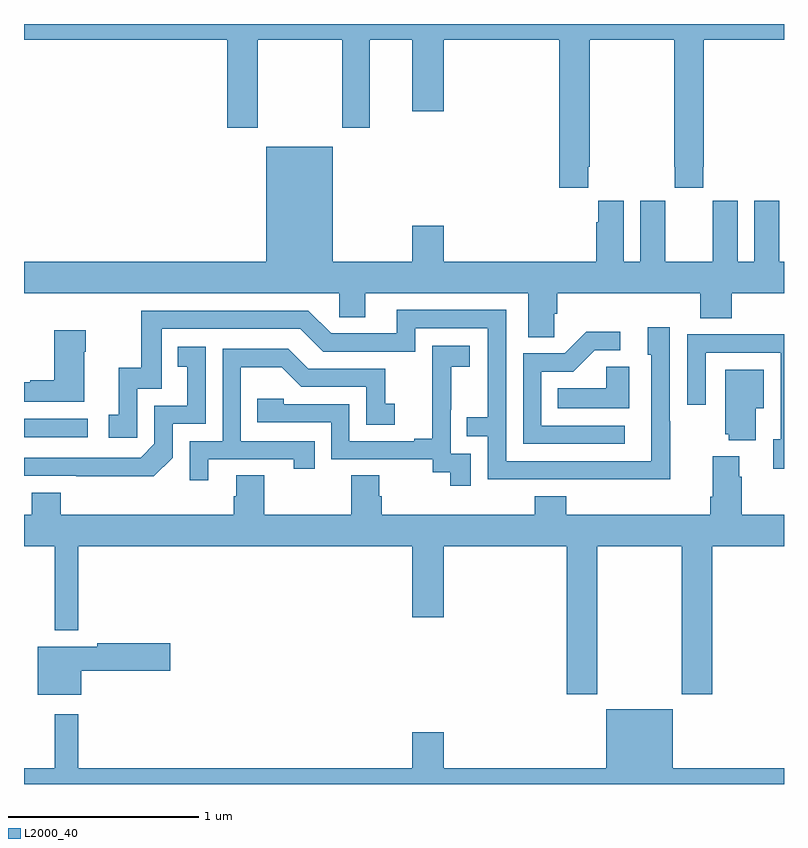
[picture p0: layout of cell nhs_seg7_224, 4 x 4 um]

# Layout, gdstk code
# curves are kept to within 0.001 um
import gdstk
lib = gdstk.Library(unit=1e-6, precision=1e-09)
def R(c, l, rs):  # rectangles x0, y0, x1, y1
    for r in rs: c.add(gdstk.rectangle(r[:2], r[2:], *l))
def P(c, l, *ps):  # polygons
    for p in ps: c.add(gdstk.Polygon(p, *l))
L2000_40 = (2000, 40)

nhs_seg7_224 = lib.new_cell('nhs_seg7_224')
R(nhs_seg7_224, L2000_40, [(127,1031.826,127.336,1031.922)])
P(nhs_seg7_224, L2000_40, [(129.971,1033.249),(129.977,1033.249),(129.977,1033.916),(130.423,1033.916),(130.423,1033.249),(130.425,1033.249),(130.425,1033.137),(130.575,1033.137),(130.575,1033.249),(130.578,1033.249),(130.578,1033.916),(131,1033.916),(131,1034),(127,1034),(127,1033.916),(128.069,1033.916),(128.069,1033.455),(128.229,1033.455),(128.229,1033.916),(128.674,1033.916),(128.674,1033.455),(128.821,1033.455),(128.821,1033.916),(129.044,1033.916),(129.044,1033.542),(129.208,1033.542),(129.208,1033.916),(129.818,1033.916),(129.818,1033.137),(129.971,1033.137)],
  [(129.792,1032.475),(129.806,1032.475),(129.806,1032.584),(130.559,1032.584),(130.559,1032.451),(130.724,1032.451),(130.724,1032.584),(131,1032.584),(131,1032.748),(130.975,1032.748),(130.975,1032.956),(130.974,1032.956),(130.974,1033.069),(130.844,1033.069),(130.844,1032.748),(130.756,1032.748),(130.756,1033.069),(130.626,1033.069),(130.626,1032.956),(130.625,1032.956),(130.625,1032.748),(130.375,1032.748),(130.375,1032.956),(130.374,1032.956),(130.374,1033.069),(130.244,1033.069),(130.244,1032.748),(130.156,1032.748),(130.156,1033.069),(130.022,1033.069),(130.022,1032.956),(130.013,1032.956),(130.013,1032.748),(129.208,1032.748),(129.208,1032.937),(129.044,1032.937),(129.044,1032.748),(128.626,1032.748),(128.626,1033.354),(128.276,1033.354),(128.276,1032.748),(127,1032.748),(127,1032.584),(128.658,1032.584),(128.658,1032.457),(128.797,1032.457),(128.797,1032.584),(129.653,1032.584),(129.653,1032.352),(129.792,1032.352)],
  [(130.401,1031.909),(130.398,1031.909),(130.398,1032.403),(130.283,1032.403),(130.283,1032.258),(130.302,1032.258),(130.302,1031.7),(129.537,1031.7),(129.537,1032.495),(128.963,1032.495),(128.963,1032.372),(128.616,1032.372),(128.496,1032.492),(127.617,1032.492),(127.617,1032.19),(127.499,1032.19),(127.499,1031.943),(127.446,1031.943),(127.446,1031.823),(127.596,1031.823),(127.596,1032.081),(127.725,1032.081),(127.725,1032.396),(128.454,1032.396),(128.574,1032.276),(129.06,1032.276),(129.06,1032.399),(129.441,1032.399),(129.441,1031.93),(129.331,1031.93),(129.331,1031.829),(129.441,1031.829),(129.441,1031.604),(130.401,1031.603)],
  [(127.318,1032.275),(127.326,1032.275),(127.326,1032.388),(127.16,1032.388),(127.16,1032.125),(127.034,1032.125),(127.034,1032.115),(127,1032.115),(127,1032.011),(127.318,1032.011)],
  [(130.162,1031.886),(129.723,1031.886),(129.723,1032.171),(129.892,1032.171),(130.003,1032.282),(130.138,1032.282),(130.138,1032.38),(129.959,1032.38),(129.846,1032.267),(129.627,1032.267),(129.627,1031.79),(130.162,1031.79)],
  [(131,1032.368),(130.807,1032.368),(130.807,1032.366),(130.491,1032.366),(130.491,1031.997),(130.587,1031.997),(130.587,1032.27),(130.983,1032.27),(130.983,1031.814),(130.943,1031.814),(130.943,1031.658),(131,1031.658)],
  [(129.351,1031.739),(129.246,1031.739),(129.246,1031.969),(129.248,1031.969),(129.248,1032.197),(129.346,1032.197),(129.346,1032.307),(129.148,1032.307),(129.148,1032.101),(129.149,1032.101),(129.149,1031.818),(129.053,1031.818),(129.053,1031.805),(128.712,1031.805),(128.712,1032),(128.367,1032),(128.367,1032.027),(128.227,1032.027),(128.227,1031.904),(128.616,1031.904),(128.616,1031.709),(129.15,1031.709),(129.15,1031.641),(129.243,1031.641),(129.243,1031.571),(129.351,1031.571)],
  [(127.782,1031.718),(127.782,1031.895),(127.956,1031.895),(127.956,1032.301),(127.81,1032.301),(127.81,1032.195),(127.859,1032.195),(127.859,1031.991),(127.686,1031.991),(127.686,1031.79),(127.614,1031.718),(127,1031.718),(127,1031.622),(127.684,1031.621)],
  [(127.969,1031.709),(128.42,1031.709),(128.42,1031.658),(128.531,1031.658),(128.531,1031.805),(128.142,1031.805),(128.142,1032.194),(128.356,1032.194),(128.46,1032.09),(128.802,1032.09),(128.802,1031.892),(128.95,1031.892),(128.95,1032.001),(128.901,1032.001),(128.901,1032.186),(128.497,1032.186),(128.392,1032.291),(128.046,1032.291),(128.046,1031.805),(127.872,1031.805),(127.872,1031.598),(127.969,1031.598)],
  [(130.186,1032.197),(130.065,1032.197),(130.065,1032.082),(129.808,1032.082),(129.808,1031.978),(130.186,1031.978)],
  [(130.852,1031.978),(130.894,1031.978),(130.894,1032.181),(130.691,1032.181),(130.691,1031.841),(130.709,1031.841),(130.709,1031.81),(130.852,1031.81)],
  [(130.017,1031.252),(130.462,1031.252),(130.462,1030.473),(130.622,1030.473),(130.622,1031.252),(131,1031.252),(131,1031.416),(130.778,1031.416),(130.778,1031.618),(130.765,1031.618),(130.765,1031.725),(130.625,1031.725),(130.625,1031.512),(130.613,1031.512),(130.613,1031.416),(129.854,1031.416),(129.854,1031.515),(129.689,1031.515),(129.689,1031.416),(128.882,1031.416),(128.882,1031.514),(128.869,1031.514),(128.869,1031.624),(128.722,1031.624),(128.722,1031.416),(128.265,1031.416),(128.265,1031.624),(128.117,1031.624),(128.117,1031.514),(128.105,1031.514),(128.105,1031.416),(127.193,1031.416),(127.193,1031.533),(127.04,1031.533),(127.04,1031.416),(127,1031.416),(127,1031.252),(127.163,1031.252),(127.163,1030.808),(127.285,1030.808),(127.285,1031.252),(129.044,1031.252),(129.044,1030.878),(129.208,1030.878),(129.208,1031.252),(129.857,1031.252),(129.857,1030.473),(130.017,1030.473)],
  [(127.3,1030.595),(127.771,1030.595),(127.771,1030.742),(127.386,1030.742),(127.386,1030.723),(127.073,1030.723),(127.073,1030.469),(127.3,1030.469)],
  [(127.163,1030.366),(127.163,1030.084),(127,1030.084),(127,1030),(131,1030),(131,1030.084),(130.414,1030.084),(130.414,1030.393),(130.064,1030.393),(130.064,1030.084),(129.208,1030.084),(129.208,1030.273),(129.044,1030.273),(129.044,1030.084),(127.285,1030.084),(127.285,1030.366)])

lib.write_gds('nhs_seg7_224.gds')
